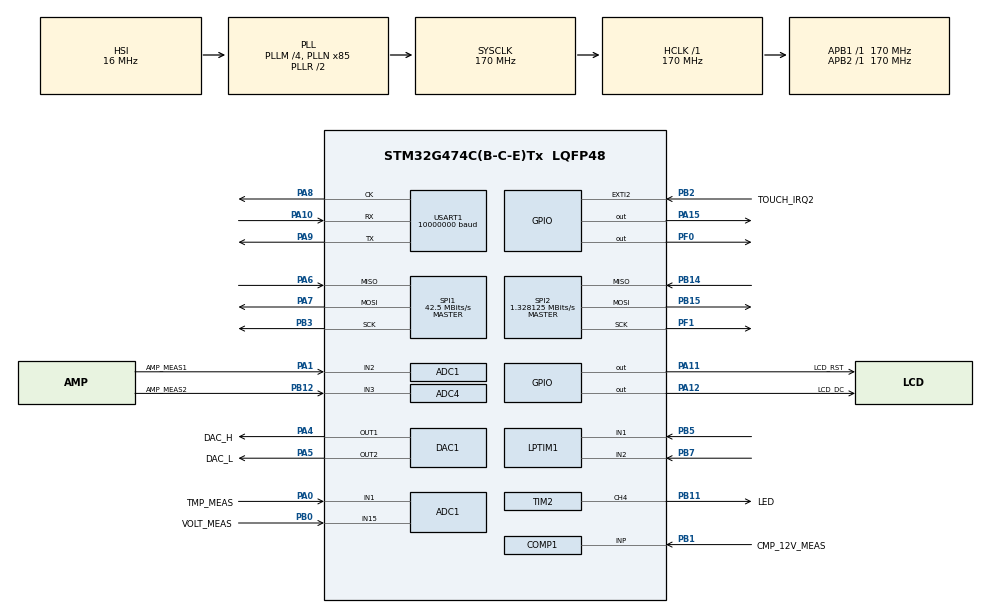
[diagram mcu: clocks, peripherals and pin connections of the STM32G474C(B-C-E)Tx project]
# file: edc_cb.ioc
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ADC1.Channel-0\#ChannelRegularConversion=ADC_CHANNEL_15
ADC1.Channel-1\#ChannelRegularConversion=ADC_CHANNEL_2
ADC1.Channel-2\#ChannelRegularConversion=ADC_CHANNEL_1
ADC1.ContinuousConvMode=ENABLE
ADC1.DMAContinuousRequests=ENABLE
ADC1.NbrOfConversion=3
ADC1.NbrOfConversionFlag=1
ADC1.OffsetNumber-0\#ChannelRegularConversion=ADC_OFFSET_NONE
ADC1.OffsetNumber-1\#ChannelRegularConversion=ADC_OFFSET_NONE
ADC1.OffsetNumber-2\#ChannelRegularConversion=ADC_OFFSET_NONE
ADC1.OversamplingMode=ENABLE
ADC1.Rank-0\#ChannelRegularConversion=1
ADC1.Rank-1\#ChannelRegularConversion=2
ADC1.Rank-2\#ChannelRegularConversion=3
ADC1.Ratio=ADC_OVERSAMPLING_RATIO_256
ADC1.RightBitShift=ADC_RIGHTBITSHIFT_4
ADC1.SamplingTime-0\#ChannelRegularConversion=ADC_SAMPLETIME_92CYCLES_5
ADC1.SamplingTime-1\#ChannelRegularConversion=ADC_SAMPLETIME_92CYCLES_5
ADC1.SamplingTime-2\#ChannelRegularConversion=ADC_SAMPLETIME_24CYCLES_5
ADC1.master=1
ADC4.Channel-0\#ChannelRegularConversion=ADC_CHANNEL_3
ADC4.NbrOfConversionFlag=1
ADC4.OffsetNumber-0\#ChannelRegularConversion=ADC_OFFSET_NONE
ADC4.OversamplingMode=DISABLE
ADC4.Rank-0\#ChannelRegularConversion=1
ADC4.SamplingTime-0\#ChannelRegularConversion=ADC_SAMPLETIME_2CYCLES_5
COMP1.Hysteresis=COMP_HYSTERESIS_10MV
COMP1.TriggerMode=COMP_TRIGGERMODE_EVENT_FALLING
DAC1.DAC_Channel-DAC_OUT2=DAC_CHANNEL_2
Dma.ADC1.0.Direction=DMA_PERIPH_TO_MEMORY
Dma.ADC1.0.EventEnable=DISABLE
Dma.ADC1.0.Instance=DMA1_Channel1
Dma.ADC1.0.MemDataAlignment=DMA_MDATAALIGN_HALFWORD
Dma.ADC1.0.MemInc=DMA_MINC_ENABLE
Dma.ADC1.0.Mode=DMA_CIRCULAR
Dma.ADC1.0.PeriphDataAlignment=DMA_PDATAALIGN_HALFWORD
Dma.ADC1.0.PeriphInc=DMA_PINC_DISABLE
Dma.ADC1.0.Polarity=HAL_DMAMUX_REQ_GEN_RISING
Dma.ADC1.0.Priority=DMA_PRIORITY_HIGH
Dma.ADC1.0.RequestNumber=1
Dma.ADC1.0.SignalID=NONE
Dma.ADC1.0.SyncEnable=DISABLE
Dma.ADC1.0.SyncPolarity=HAL_DMAMUX_SYNC_NO_EVENT
Dma.ADC1.0.SyncRequestNumber=1
Dma.ADC1.0.SyncSignalID=NONE
Dma.Request0=ADC1
Dma.Request1=SPI1_TX
Dma.SPI1_TX.1.Direction=DMA_MEMORY_TO_PERIPH
Dma.SPI1_TX.1.EventEnable=DISABLE
Dma.SPI1_TX.1.Instance=DMA1_Channel2
Dma.SPI1_TX.1.MemDataAlignment=DMA_MDATAALIGN_BYTE
Dma.SPI1_TX.1.MemInc=DMA_MINC_ENABLE
Dma.SPI1_TX.1.Mode=DMA_NORMAL
Dma.SPI1_TX.1.PeriphDataAlignment=DMA_PDATAALIGN_BYTE
Dma.SPI1_TX.1.PeriphInc=DMA_PINC_DISABLE
Dma.SPI1_TX.1.Polarity=HAL_DMAMUX_REQ_GEN_RISING
Dma.SPI1_TX.1.Priority=DMA_PRIORITY_LOW
Dma.SPI1_TX.1.RequestNumber=1
Dma.SPI1_TX.1.SignalID=NONE
Dma.SPI1_TX.1.SyncEnable=DISABLE
Dma.SPI1_TX.1.SyncPolarity=HAL_DMAMUX_SYNC_NO_EVENT
Dma.SPI1_TX.1.SyncRequestNumber=1
Dma.SPI1_TX.1.SyncSignalID=NONE
Mcu.Family=STM32G4
Mcu.Name=STM32G474C(B-C-E)Tx
Mcu.Package=LQFP48
NVIC.DMA1_Channel1_IRQn=true\:0\:0\:false\:false\:true\:false\:true\:true
NVIC.DMA1_Channel2_IRQn=true\:0\:0\:false\:false\:true\:false\:true\:true
NVIC.PriorityGroup=NVIC_PRIORITYGROUP_4
NVIC.TIM1_UP_TIM16_IRQn=true\:0\:0\:false\:false\:true\:true\:true\:true
NVIC.TIM6_DAC_IRQn=true\:0\:0\:false\:false\:true\:true\:true\:true
NVIC.TIM7_DAC_IRQn=true\:15\:0\:false\:false\:true\:false\:true\:true
NVIC.TimeBase=TIM7_DAC_IRQn
NVIC.TimeBaseIP=TIM7
PA0.GPIO_Label=TMP_MEAS
PA0.Signal=SharedAnalog_PA0
PA1.GPIO_Label=AMP_MEAS1
PA1.Mode=IN2-Single-Ended
PA1.Signal=ADC1_IN2
PA10.GPIO_Speed=GPIO_SPEED_FREQ_VERY_HIGH
PA10.Mode=Synchronous
PA10.Signal=USART1_RX
PA11.GPIO_Label=LCD_RST
PA11.GPIO_Speed=GPIO_SPEED_FREQ_VERY_HIGH
PA11.Signal=GPIO_Output
PA12.GPIO_Label=LCD_DC
PA12.GPIO_Speed=GPIO_SPEED_FREQ_VERY_HIGH
PA12.Signal=GPIO_Output
PA13.Mode=Serial_Wire
PA13.Signal=SYS_JTMS-SWDIO
PA14.Mode=Serial_Wire
PA14.Signal=SYS_JTCK-SWCLK
PA15.GPIO_ModeDefaultOutputPP=GPIO_MODE_OUTPUT_PP
PA15.GPIO_PuPd=GPIO_NOPULL
PA15.GPIO_Speed=GPIO_SPEED_FREQ_VERY_HIGH
PA15.PinState=GPIO_PIN_RESET
PA15.Signal=GPIO_Output
PA4.GPIO_Label=DAC_H
PA4.Signal=COMP_DAC11_group
PA5.GPIO_Label=DAC_L
PA5.Signal=COMP_DAC12_group
PA6.Mode=Full_Duplex_Master
PA6.Signal=SPI1_MISO
PA7.GPIO_Speed=GPIO_SPEED_FREQ_VERY_HIGH
PA7.Mode=Full_Duplex_Master
PA7.Signal=SPI1_MOSI
PA8.GPIO_Speed=GPIO_SPEED_FREQ_VERY_HIGH
PA8.Mode=Synchronous
PA8.Signal=USART1_CK
PA9.GPIO_Speed=GPIO_SPEED_FREQ_VERY_HIGH
PA9.Mode=Synchronous
PA9.Signal=USART1_TX
PB0.GPIO_Label=VOLT_MEAS
PB0.Mode=IN15-Single-Ended
PB0.Signal=ADC1_IN15
PB1.GPIO_Label=CMP_12V_MEAS
PB1.Mode=INP
PB1.Signal=COMP1_INP
PB11.GPIO_Label=LED
PB11.Signal=S_TIM2_CH4
PB12.GPIO_Label=AMP_MEAS2
PB12.Mode=IN3-Single-Ended
PB12.Signal=ADC4_IN3
PB14.Mode=Full_Duplex_Master
PB14.Signal=SPI2_MISO
PB15.Mode=Full_Duplex_Master
PB15.Signal=SPI2_MOSI
PB2.GPIO_Label=TOUCH_IRQ2
PB2.Signal=GPXTI2
PB3.GPIO_Speed=GPIO_SPEED_FREQ_VERY_HIGH
PB3.Mode=Full_Duplex_Master
PB3.Signal=SPI1_SCK
PB5.GPIO_PuPd=GPIO_PULLDOWN
PB5.Mode=Encoder_mode_occur1
PB5.Signal=LPTIM1_IN1
PB7.GPIO_PuPd=GPIO_PULLDOWN
PB7.Mode=Encoder_mode_occur1
PB7.Signal=LPTIM1_IN2
PF0-OSC_IN.Signal=GPIO_Output
PF1-OSC_OUT.Mode=Full_Duplex_Master
PF1-OSC_OUT.Signal=SPI2_SCK
ProjectManager.HeapSize=0x2F0
ProjectManager.StackSize=0x600
ProjectManager.TargetToolchain=MDK-ARM V5.32
RCC.ADC12Freq_Value=170000000
RCC.ADC345Freq_Value=170000000
RCC.AHBFreq_Value=170000000
RCC.APB1Freq_Value=170000000
RCC.APB1TimFreq_Value=170000000
RCC.APB2Freq_Value=170000000
RCC.APB2TimFreq_Value=170000000
RCC.CortexFreq_Value=170000000
RCC.EXTERNAL_CLOCK_VALUE=12288000
RCC.HCLKFreq_Value=170000000
RCC.HSE_VALUE=8000000
RCC.HSI48_VALUE=48000000
RCC.HSI_VALUE=16000000
RCC.LSE_VALUE=32768
RCC.PLLM=RCC_PLLM_DIV4
RCC.PLLN=85
RCC.SYSCLKFreq_VALUE=170000000
RCC.SYSCLKSource=RCC_SYSCLKSOURCE_PLLCLK
RCC.USBFreq_Value=170000000
RCC.VCOOutputFreq_Value=340000000
SH.COMP_DAC11_group.0=DAC1_OUT1,DAC_OUT1
SH.COMP_DAC12_group.0=DAC1_OUT2,DAC_OUT2
SH.S_TIM2_CH4.0=TIM2_CH4,PWM Generation4 CH4
SH.SharedAnalog_PA0.0=ADC2_IN1
SH.SharedAnalog_PA0.1=ADC1_IN1,IN1-Single-Ended
SPI1.BaudRatePrescaler=SPI_BAUDRATEPRESCALER_4
SPI1.CalculateBaudRate=42.5 MBits/s
SPI1.DataSize=SPI_DATASIZE_8BIT
SPI1.Direction=SPI_DIRECTION_2LINES
SPI1.Mode=SPI_MODE_MASTER
SPI1.NSSPMode=SPI_NSS_PULSE_DISABLE
SPI1.VirtualType=VM_MASTER
SPI2.BaudRatePrescaler=SPI_BAUDRATEPRESCALER_128
SPI2.CalculateBaudRate=1.328125 MBits/s
SPI2.DataSize=SPI_DATASIZE_8BIT
SPI2.Direction=SPI_DIRECTION_2LINES
SPI2.Mode=SPI_MODE_MASTER
SPI2.VirtualType=VM_MASTER
STMicroelectronics.X-CUBE-TOUCHGFX.4.26.1.ApplicationCcGraphicsJjApplication=TouchGFXOoGenerator
STMicroelectronics.X-CUBE-TOUCHGFX.4.26.1.tgfx_block_size=640
STMicroelectronics.X-CUBE-TOUCHGFX.4.26.1.tgfx_buffering_strategy=Partial
STMicroelectronics.X-CUBE-TOUCHGFX.4.26.1.tgfx_custom_height=240
STMicroelectronics.X-CUBE-TOUCHGFX.4.26.1.tgfx_custom_width=320
STMicroelectronics.X-CUBE-TOUCHGFX.4.26.1.tgfx_number_of_blocks=1
STMicroelectronics.X-CUBE-TOUCHGFX.4.26.1.tgfx_vector_rendering=Disabled
STMicroelectronics.X-CUBE-TOUCHGFX.4.26.1_IsPackSelfContextualization=true
TIM16.PeriodNoDither=99
TIM16.Prescaler=169
TIM2.Channel-PWM\ Generation4\ CH4=TIM_CHANNEL_4
TIM2.PeriodNoDither=65535
TIM2.PulseNoDither_4=32767
TIM6.PeriodNoDither=60000
TIM6.Prescaler=170-1
USART1.BaudRate=10000000
USART1.Parity=PARITY_NONE
USART1.VirtualMode-Synchronous=VM_SYNC
USART1.WordLength=WORDLENGTH_8B
VP_COMP1_VS_DAC3OUT1.Mode=INM_DAC3OUT1
VP_CRC_VS_CRC.Mode=CRC_Activate
VP_DAC3_VS_DACI1.Mode=DAC_OUT1_Int
VP_STMicroelectronics.X-CUBE-TOUCHGFX_VS_GraphicsJjApplication_4.26.1.Mode=GraphicsJjApplication
VP_SYS_VS_DBSignals.Mode=DisableDeadBatterySignals
VP_SYS_VS_tim7.Mode=TIM7
VP_TIM16_VS_ClockSourceINT.Mode=Enable_Timer
VP_TIM6_VS_ClockSourceINT.Mode=Enable_Timer
board=custom

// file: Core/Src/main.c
/* USER CODE BEGIN Header */
/**
  ******************************************************************************
  * @file           : main.c
  * @brief          : Main program body
  ******************************************************************************
  * @attention
  *
  * Copyright (c) 2026 STMicroelectronics.
  * All rights reserved.
  *
  * This software is licensed under terms that can be found in the LICENSE file
  * in the root directory of this software component.
  * If no LICENSE file comes with this software, it is provided AS-IS.
  *
  ******************************************************************************
  */
/* USER CODE END Header */
#include "main.h"
#include "adc.h"
#include "comp.h"
#include "crc.h"
#include "dac.h"
#include "dma.h"
#include "lptim.h"
#include "spi.h"
#include "tim.h"
#include "usart.h"
#include "gpio.h"
#include "app_touchgfx.h"

/* USER CODE BEGIN Includes */
#include "font_ASCII_32x32.h"
#include <stdlib.h>
#include <stdio.h>
#include <string.h>

/* USER CODE END Includes */

/* USER CODE BEGIN PTD */
uint16_t adc_volt[2];
float volt=0;
float volt2=0;

/* USER CODE END PTD */

void SystemClock_Config(void);
/* USER CODE BEGIN PFP */
#define AREF 3.0
/* USER CODE END PFP */

/* USER CODE BEGIN 0 */
/* ==================== 引脚宏定义 (用户按需修改) ==================== */
#define LCD_CS_PORT     GPIOA
#define LCD_CS_PIN      GPIO_PIN_15

#define LCD_RST_PORT    GPIOA
#define LCD_RST_PIN     GPIO_PIN_11

#define LCD_DC_PORT     GPIOA
#define LCD_DC_PIN      GPIO_PIN_12

/* 软件SPI引脚 (使用任意GPIO，这里用PA0=SCK, PA1=MOSI) */
#define LCD_SCK_PORT    GPIOB
#define LCD_SCK_PIN     GPIO_PIN_3

#define LCD_MOSI_PORT   GPIOA
#define LCD_MOSI_PIN    GPIO_PIN_6

/* ==================== 基本操作宏 ==================== */
#define CS_LOW()    HAL_GPIO_WritePin(LCD_CS_PORT, LCD_CS_PIN, GPIO_PIN_RESET)
#define CS_HIGH()   HAL_GPIO_WritePin(LCD_CS_PORT, LCD_CS_PIN, GPIO_PIN_SET)

#define RST_LOW()   HAL_GPIO_WritePin(LCD_RST_PORT, LCD_RST_PIN, GPIO_PIN_RESET)
#define RST_HIGH()  HAL_GPIO_WritePin(LCD_RST_PORT, LCD_RST_PIN, GPIO_PIN_SET)

#define DC_LOW()    HAL_GPIO_WritePin(LCD_DC_PORT, LCD_DC_PIN, GPIO_PIN_RESET)
#define DC_HIGH()   HAL_GPIO_WritePin(LCD_DC_PORT, LCD_DC_PIN, GPIO_PIN_SET)

#define SCK_LOW()   HAL_GPIO_WritePin(LCD_SCK_PORT, LCD_SCK_PIN, GPIO_PIN_RESET)
#define SCK_HIGH()  HAL_GPIO_WritePin(LCD_SCK_PORT, LCD_SCK_PIN, GPIO_PIN_SET)

#define MOSI_LOW()  HAL_GPIO_WritePin(LCD_MOSI_PORT, LCD_MOSI_PIN, GPIO_PIN_RESET)
#define MOSI_HIGH() HAL_GPIO_WritePin(LCD_MOSI_PORT, LCD_MOSI_PIN, GPIO_PIN_SET)

/* ==================== 软件SPI发送一个字节 ==================== */
//static void SPI_WriteByte(uint8_t data) {
//    for(int i = 7; i >= 0; i--) {
//        SCK_LOW();          // 时钟先拉低 (CPOL=0)
//        SPI_DELAY();
//
//        if(data & (1 << i))
//            MOSI_HIGH();
//        else
//            MOSI_LOW();
//
//        SPI_DELAY();
//        SCK_HIGH();         // 数据在上升沿采样 (CPHA=0)
//        SPI_DELAY();
//    }
//    SCK_LOW();  // 恢复
//}
static inline void SPI_WriteByte(uint8_t data) {
    // 使用HAL库的SPI发送函数
    // HAL_SPI_Transmit(SPI句柄, 数据缓冲区, 数据长度, 超时时间)
    HAL_SPI_Transmit_DMA(&hspi1, &data,1);
}
/* ==================== 命令/数据写入 ==================== */
static inline void WriteCmd(uint8_t cmd) {
    CS_LOW();
    DC_LOW();       // DC=0 表示命令
    SPI_WriteByte(cmd);
    CS_HIGH();
}

static inline void WriteData(uint8_t data) {
    CS_LOW();
    DC_HIGH();      // DC=1 表示数据
    SPI_WriteByte(data);
    CS_HIGH();
}

static inline void WriteData16(uint16_t data) {
    CS_LOW();
    DC_HIGH();
    SPI_WriteByte(data >> 8);   // 高字节
    SPI_WriteByte(data & 0xFF); // 低字节
    CS_HIGH();
}
static void SPI_WriteWord(uint16_t data) {
    CS_LOW();
    DC_HIGH();
    SPI_WriteByte(data >> 8);   // 高字节
    SPI_WriteByte(data & 0xFF); // 低字节
	//HAL_SPI_Transmit_DMA(&hspi1, &data,2);
    CS_HIGH();
}
#define LCD_WR_DATA WriteData
#define LCD_WR_REG WriteCmd
/* ==================== ILI9341初始化 ==================== */

void LCD_Init(void) {

    RST_HIGH(); HAL_Delay(10);
    RST_LOW();  HAL_Delay(10);
    RST_HIGH(); HAL_Delay(10);

   LCD_WR_REG(0xCF);
	LCD_WR_DATA(0x00);
	LCD_WR_DATA(0xC9); //C1
	LCD_WR_DATA(0X30);
	LCD_WR_REG(0xED);
	LCD_WR_DATA(0x64);
	LCD_WR_DATA(0x03);
	LCD_WR_DATA(0X12);
	LCD_WR_DATA(0X81);
	LCD_WR_REG(0xE8);
	LCD_WR_DATA(0x85);
	LCD_WR_DATA(0x10);
	LCD_WR_DATA(0x7A);
	LCD_WR_REG(0xCB);
	LCD_WR_DATA(0x39);
	LCD_WR_DATA(0x2C);
	LCD_WR_DATA(0x00);
	LCD_WR_DATA(0x34);
	LCD_WR_DATA(0x02);
	LCD_WR_REG(0xF7);
	LCD_WR_DATA(0x20);
	LCD_WR_REG(0xEA);
	LCD_WR_DATA(0x00);
	LCD_WR_DATA(0x00);
	LCD_WR_REG(0xC0);    //Power control
	LCD_WR_DATA(0x1B);   //VRH[5:0]
	LCD_WR_REG(0xC1);    //Power control
	LCD_WR_DATA(0x00);   //SAP[2:0];BT[3:0] 01
	LCD_WR_REG(0xC5);    //VCM control
	LCD_WR_DATA(0x30); 	 //3F
	LCD_WR_DATA(0x30); 	 //3C
	LCD_WR_REG(0xC7);    //VCM control2
	LCD_WR_DATA(0XB7);
	LCD_WR_REG(0x36);    // Memory Access Control
	LCD_WR_DATA(0x08);
	LCD_WR_REG(0x3A);
	LCD_WR_DATA(0x55);
	LCD_WR_REG(0xB1);
	LCD_WR_DATA(0x00);
	LCD_WR_DATA(0x1A);
	LCD_WR_REG(0xB6);    // Display Function Control
	LCD_WR_DATA(0x0A);
	LCD_WR_DATA(0xA2);
	LCD_WR_REG(0xF2);    // 3Gamma Function Disable
	LCD_WR_DATA(0x00);
	LCD_WR_REG(0x26);    //Gamma curve selected
	LCD_WR_DATA(0x01);
	LCD_WR_REG(0xE0);    //Set Gamma
	LCD_WR_DATA(0x0F);
	LCD_WR_DATA(0x2A);
	LCD_WR_DATA(0x28);
	LCD_WR_DATA(0x08);
	LCD_WR_DATA(0x0E);
	LCD_WR_DATA(0x08);
	LCD_WR_DATA(0x54);
	LCD_WR_DATA(0XA9);
	LCD_WR_DATA(0x43);
	LCD_WR_DATA(0x0A);
	LCD_WR_DATA(0x0F);
	LCD_WR_DATA(0x00);
	LCD_WR_DATA(0x00);
	LCD_WR_DATA(0x00);
	LCD_WR_DATA(0x00);
	LCD_WR_REG(0XE1);    //Set Gamma
	LCD_WR_DATA(0x00);
	LCD_WR_DATA(0x15);
	LCD_WR_DATA(0x17);
	LCD_WR_DATA(0x07);
	LCD_WR_DATA(0x11);
	LCD_WR_DATA(0x06);
	LCD_WR_DATA(0x2B);
	LCD_WR_DATA(0x56);
	LCD_WR_DATA(0x3C);
	LCD_WR_DATA(0x05);
	LCD_WR_DATA(0x10);
	LCD_WR_DATA(0x0F);
	LCD_WR_DATA(0x3F);
	LCD_WR_DATA(0x3F);
	LCD_WR_DATA(0x0F);
	LCD_WR_REG(0x2B);
	LCD_WR_DATA(0x00);
	LCD_WR_DATA(0x00);
	LCD_WR_DATA(0x01);
	LCD_WR_DATA(0x3f);
	LCD_WR_REG(0x2A);
	LCD_WR_DATA(0x00);
	LCD_WR_DATA(0x00);
	LCD_WR_DATA(0x00);
	LCD_WR_DATA(0xef);
	LCD_WR_REG(0x11); //Exit Sleep
	HAL_Delay(120);
	LCD_WR_REG(0x29); //display on

}

/* ==================== 颜色宏 ==================== */
#define RGB565(r,g,b) 65535-(((r>>3)<<11) | ((g>>2)<<5) | (b>>3))

/* ==================== 画图函数 ==================== */
void SPI1_Boost(){
	 hspi1.Instance = SPI1;
  hspi1.Init.Mode = SPI_MODE_MASTER;
  hspi1.Init.Direction = SPI_DIRECTION_2LINES;
  hspi1.Init.DataSize = SPI_DATASIZE_8BIT;
  hspi1.Init.CLKPolarity = SPI_POLARITY_LOW;
  hspi1.Init.CLKPhase = SPI_PHASE_1EDGE;
  hspi1.Init.NSS = SPI_NSS_SOFT;
  hspi1.Init.BaudRatePrescaler = SPI_BAUDRATEPRESCALER_2;
  hspi1.Init.FirstBit = SPI_FIRSTBIT_MSB;
  hspi1.Init.TIMode = SPI_TIMODE_DISABLE;
  hspi1.Init.CRCCalculation = SPI_CRCCALCULATION_DISABLE;
  hspi1.Init.CRCPolynomial = 7;
  hspi1.Init.CRCLength = SPI_CRC_LENGTH_DATASIZE;
  hspi1.Init.NSSPMode = SPI_NSS_PULSE_DISABLE;
  if (HAL_SPI_Init(&hspi1) != HAL_OK)
  {
    Error_Handler();
  }
}
void LCD_FillScreen(uint16_t color) {
	uint16_t x=0,y=0;
   WriteCmd(0x2A);
    WriteData(x >> 8); WriteData(x & 0xFF);
    WriteData((x+239) >> 8); WriteData((x+239) & 0xFF);

    WriteCmd(0x2B);
    WriteData(y >> 8); WriteData(y & 0xFF);
    WriteData((y+319) >> 8); WriteData((y+319) & 0xFF);

    WriteCmd(0x2C);  // 写显存命令

    CS_LOW();
    DC_HIGH();

    for(uint32_t i = 0; i < 240*320; i++) {
      CS_LOW();
    DC_HIGH();
	HAL_SPI_Transmit_DMA(&hspi1, &color,2);
    CS_HIGH();
    }

    CS_HIGH();
}

// MicroLIB 缺失的符号
void __aeabi_assert(const char *expr, const char *file, int line)
{
    (void)expr;
    (void)file;
    (void)line;
	return;
    //while(1);  // 或者直接返回
}

int _atexit_init(void)
{
    return 0;
}

int _atexit_mutex(void)
{
    return 0;
}

// 快速填充 (用缓冲区减少循环次数)
void LCD_FillScreen_Fast(uint16_t color) {
    uint8_t buf[64*2];  // 一次发64个像素

    // 填充缓冲区
    for(int i = 0; i < 64*2; i+=2) {
        buf[i]   = color >> 8;
        buf[i+1] = color & 0xFF;
    }

    uint32_t total = 240 * 320 / 64; // 分多少次发送

    WriteCmd(0x2C);
    CS_LOW();
    DC_HIGH();

    for(uint32_t j = 0; j < total; j++) {
        for(int i = 0; i < 64*2; i++) {
            SPI_WriteByte(buf[i]);
        }
    }

    CS_HIGH();
}

/* ==================== 测试函数 ==================== */
void LCD_Test(void) {
    // 测试1: 红色
    LCD_FillScreen_Fast(RGB565(255, 0, 0));
//HAL_Delay(1000);

    // 测试2: 绿色
    LCD_FillScreen_Fast(RGB565(0, 255, 0));
 //   HAL_Delay(1000);

    // 测试3: 蓝色
    LCD_FillScreen_Fast(RGB565(0, 0, 255));
   // HAL_Delay(1000);

    // 测试4: 白色
    LCD_FillScreen_Fast(RGB565(255, 255, 255));
  //  HAL_Delay(1000);

    // 测试5: 黑色
    LCD_FillScreen_Fast(RGB565(0, 0, 0));
  //  HAL_Delay(1000);
}

/* ==================== 分段测试 (用于诊断) ==================== */
void LCD_Diagnostic(void) {
    // 1. 仅复位，看屏幕是否有变化
    RST_HIGH();
    HAL_Delay(200);
    // 此时如果屏幕亮，应该是白屏或花屏

    // 2. 仅发送开启显示命令
    WriteCmd(0x29);
    HAL_Delay(100);

    // 3. 写一个像素点
    WriteCmd(0x2A);
    WriteData(0x00); WriteData(0x00);  // X=0
    WriteData(0x00); WriteData(0x00);  // X=0

    WriteCmd(0x2B);
    WriteData(0x00); WriteData(0x00);  // Y=0
    WriteData(0x00); WriteData(0x00);  // Y=0

    WriteCmd(0x2C);
    CS_LOW();
    DC_HIGH();
    SPI_WriteByte(0xFF);  // 一个红色像素的高字节
    SPI_WriteByte(0x00);  // 低字节
    CS_HIGH();
}
void LCD_SetSpinAngle(uint16_t spinAngle) {
    uint8_t madctl;

    // 取模360并映射到最近的标准方向
    // 标准方向: 0, 90, 180, 270
    uint16_t angle = spinAngle % 360;

    // 四舍五入到最近的90度
    // 0-44 -> 0, 45-134 -> 90, 135-224 -> 180, 225-314 -> 270, 315-359 -> 0
    uint16_t dir;
    if(angle < 45 || angle >= 315) {
        dir = 0;
    } else if(angle < 135) {
        dir = 90;
    } else if(angle < 225) {
        dir = 180;
    } else {
        dir = 270;
    }

    // 根据方向设置MADCTL寄存器的值
    switch(dir) {
        case 0:     // 0度 (竖屏, 默认)
            madctl = 0x48;  // MY=0, MX=1, MV=0, ML=0, BGR=1
            break;

        case 90:    // 90度 (横屏)
            madctl = 0x28;  // MY=0, MX=1, MV=1, ML=0, BGR=1
            break;

        case 180:   // 180度 (倒屏)
            madctl = 0x88;  // MY=1, MX=1, MV=0, ML=0, BGR=1
            break;

        case 270:   // 270度 (反向横屏)
            madctl = 0xE8;  // MY=1, MX=0, MV=1, ML=0, BGR=1
            break;

        default:    // 默认竖屏
            madctl = 0x48;
            break;
    }

    // 发送MADCTL命令
    WriteCmd(0x36);
    WriteData(madctl);

    // 重新设置全屏窗口
    WriteCmd(0x2A);  // 列地址
    WriteData(0x00); WriteData(0x00);
    WriteData(0x00); WriteData(0xEF);  // 239

    WriteCmd(0x2B);  // 行地址
    WriteData(0x00); WriteData(0x00);
    WriteData(0x01); WriteData(0x3F);  // 319

    // 清屏
    LCD_FillScreen(0x0000);  // 黑色清屏
}

/* ==================== DrawPoint 函数 ==================== */
void DrawPoint(uint16_t x, uint16_t y, uint16_t color) {
    if(x >= 240 || y >= 320) return;

    WriteCmd(0x2A);
    WriteData(x >> 8); WriteData(x & 0xFF);
    WriteData(x >> 8); WriteData(x & 0xFF);

    WriteCmd(0x2B);
    WriteData(y >> 8); WriteData(y & 0xFF);
    WriteData(y >> 8); WriteData(y & 0xFF);

    WriteCmd(0x2C);
    CS_LOW();
    DC_HIGH();
    SPI_WriteWord(color);
    CS_HIGH();
}

/* ==================== WriteChar3232 函数 ==================== */
void WriteChar3232(uint16_t x, uint16_t y, const uint8_t *font_data, uint16_t color, uint16_t bg_color) {
    if(x + 32 > 240 || y + 32 > 320) return;

    WriteCmd(0x2A);
    WriteData(x >> 8); WriteData(x & 0xFF);
    WriteData((x+31) >> 8); WriteData((x+31) & 0xFF);

    WriteCmd(0x2B);
    WriteData(y >> 8); WriteData(y & 0xFF);
    WriteData((y+31) >> 8); WriteData((y+31) & 0xFF);

    WriteCmd(0x2C);
    CS_LOW();
    DC_HIGH();

    for(int col = 0; col < 32; col++) {
        for(int row = 0; row < 32; row++) {
            if(font_data[row * 4 + col / 8] & (0x80 >> (col % 8))) {
                SPI_WriteWord(color);
            } else {
                SPI_WriteWord(bg_color);
            }
        }
    }

    CS_HIGH();
}

void WriteASCII3232(uint16_t x,uint16_t y,uint16_t color, uint16_t bg_color,char which){
	uint8_t ascii_dat=which;
	ascii_dat-=32;
	WriteChar3232(y,x,Font_ASCII[ascii_dat].dat,color,bg_color);
}

/* ==================== WriteString3232 函数 ==================== */
void WriteString3232(uint16_t x, uint16_t y, uint16_t color, uint16_t bg_color, const char *str) {
    uint16_t start_x = x;

    while(*str) {
        if(*str == '\n') {
            // 换行
            y += 32;  // 32像素高度 + 3像素间距
            x = start_x;
        } else if(*str == ' ') {
            // 空格
            x += 28;  // 32像素宽度 + 3像素间距
        } else {
            // 显示字符
            WriteASCII3232(x, y, color, bg_color, *str);
            x += 28;  // 32像素宽度 + 3像素间距
        }

        // 超出屏幕宽度自动换行
        if(x + 30 > 320) {
            y += 32;
            x = start_x;
        }

        str++;
    }
}

float measure12V(){
	int resraw=0;
	HAL_DAC_SetValue(&hdac3,DAC_CHANNEL_1,DAC_ALIGN_12B_R,0);
	for(uint16_t i=0;i<4096;i++){
		HAL_DAC_SetValue(&hdac3,DAC_CHANNEL_1,DAC_ALIGN_12B_R,i);
		if(HAL_COMP_GetOutputLevel(&hcomp1)==COMP_OUTPUT_LEVEL_LOW){
			resraw=i;
			break;
		}
	}
	return ((resraw/4096.0f)*11.0f*AREF);
}
float av12_voltage=0;
extern uint16_t adc1[49];
struct adc1_read{
	float temp;
	float amp;
	float volt;
}adc1_readings;
void adc1_convert(struct adc1_read* read1){
	read1->temp=adc1[2];
	read1->amp=adc1[1];
	read1->volt=((adc1[0]-32767.0f)/65536.0f)*3.0f*16.0f*-1.7605f;
}
char temp_buf[10];
int system_startup_check(){

	WriteString3232(0,20,RGB565(255,255,255),RGB565(0,0,0),"LOADING ");
	int pass=0;
	if(measure12V()>10&&measure12V()<15)pass++;
	adc1_convert(&adc1_readings);
	if(adc1_readings.volt<30&&adc1_readings.volt>-1)pass+=2;
	if(pass>=3){
   LCD_FillScreen(RGB565(0,0,0));
   WriteString3232(0,60,RGB565(0,255,0),RGB565(0,0,0),"System OK\n");
		HAL_Delay(10);
		return 1;
	}else if(pass==1){
    LCD_FillScreen(RGB565(255,0,0));
		WriteString3232(0,60,RGB565(255,0,255),RGB565(0,0,0),"Check Input\n");
		HAL_Delay(10);
		char buf[16];
		snprintf(buf,12,"INP=%.2fV",adc1_readings.volt);
		WriteString3232(0,100,RGB565(0,255,255),RGB565(0,0,0),buf);
		HAL_Delay(10);
		return 0;
	}else if(pass==2){
  //  LCD_FillScreen(RGB565(0,0,0));
		int v12_now=(int)(measure12V());
		snprintf(temp_buf,10,"VSYS=%dV\n",v12_now);
		WriteString3232(0,60,RGB565(255,255,0),RGB565(0,0,0),"12V Fault\nCheck PSU\n");
		WriteString3232(0,180,RGB565(255,255,0),RGB565(0,0,0),temp_buf);
		HAL_Delay(10);

		return 0;

	}else if(pass==0){
   // LCD_FillScreen(RGB565(0,0,0));
		WriteString3232(0,60,RGB565(255,0,0),RGB565(0,0,0),"Multiple Errors\n");
		HAL_Delay(10);
		return 0;
	}
	return 0;
}

#define CURRENT_OFFSET 0.56

uint8_t Touch_Read(SPI_HandleTypeDef *hspi, GPIO_TypeDef *cs_port, uint16_t cs_pin, uint16_t *x, uint16_t *y) {
    uint8_t rx_buf[3];  // 接收缓冲区
    uint32_t x_sum = 0, y_sum = 0;
    uint8_t valid = 0;

    for (uint8_t i = 0; i < 5; i++) {  // 采样5次
        // ====== 读取X坐标 ======
        HAL_GPIO_WritePin(cs_port, cs_pin, GPIO_PIN_RESET);  // CS拉低

        // 发送命令 0xD0，同时接收第1个字节
        uint8_t cmd = 0xD0;
        HAL_SPI_TransmitReceive(hspi, &cmd, &rx_buf[0], 1, HAL_MAX_DELAY);

        // 发送假数据，同时接收第2个字节
        cmd = 0x00;
        HAL_SPI_TransmitReceive(hspi, &cmd, &rx_buf[1], 1, HAL_MAX_DELAY);

        HAL_GPIO_WritePin(cs_port, cs_pin, GPIO_PIN_SET);    // CS拉高

        // 解析X坐标 (12位: rx_buf[0]高4位 + rx_buf[1]全部)
        uint16_t x_val = ((uint16_t)rx_buf[1]<<8 ) | (rx_buf[0]);

        // ====== 读取Y坐标 ======
        HAL_GPIO_WritePin(cs_port, cs_pin, GPIO_PIN_RESET);  // CS拉低

        cmd = 0x90;
        HAL_SPI_TransmitReceive(hspi, &cmd, &rx_buf[0], 1, HAL_MAX_DELAY);

        cmd = 0x00;
        HAL_SPI_TransmitReceive(hspi, &cmd, &rx_buf[1], 1, HAL_MAX_DELAY);

        HAL_GPIO_WritePin(cs_port, cs_pin, GPIO_PIN_SET);    // CS拉高

        // 解析Y坐标
        uint16_t y_val = ((uint16_t)rx_buf[1]<<8 ) | (rx_buf[0] );

        // 判断是否有效（阈值100，可根据实际情况调整）
        if (x_val > 100 && y_val > 100) {
            x_sum += x_val;
            y_sum += y_val;
            valid++;
        }
    }

    // 至少3次有效采样才返回坐标
    if (valid >= 3) {
        *x = x_sum / valid;
        *y = y_sum / valid;
        return 1;  // 触摸有效
    }

    *x = 0;
    *y = 0;
    return 0;  // 未触摸
}

void TouchScreen_Calibrate(){
	LCD_FillScreen(RGB565(255,255,255));
	WriteASCII3232(0,0,RGB565(0,255,0),RGB565(0,0,0),'+');
	WriteASCII3232(320-32,0,RGB565(0,255,0),RGB565(0,0,0),'+');
	WriteASCII3232(0,240-32,RGB565(0,255,0),RGB565(0,0,0),'+');
	WriteASCII3232(320-32,240-32,RGB565(0,255,0),RGB565(0,0,0),'+');
	uint8_t flag=0;
	while(1){
		uint16_t ii,jj,rdX,rdY;
				if(Touch_Read(&hspi2,GPIOF,GPIO_PIN_0,&ii,&jj)){
					rdX=ii;
					rdY=jj;
				}
				uint32_t tmpx=(uint32_t)rdY*320*2;
				uint32_t tmpy=(uint32_t)rdX*240*2;
				tmpx/=65536;
				tmpy/=65536;
			  rdX=tmpx;
				rdY=tmpy;
				if(rdX<50&&rdY<30){
					WriteASCII3232(0,0,RGB565(255,0,255),RGB565(0,0,0),'+');
					flag|=1;
				}
					if(rdX>320-50&&rdY<30){
					WriteASCII3232(320-32,0,RGB565(255,0,255),RGB565(0,0,0),'+');
						flag|=2;
				}
					if(rdX<50&&rdY>240-30){
					WriteASCII3232(0,240-32,RGB565(255,0,255),RGB565(0,0,0),'+');
						flag|=4;
				}
					if(rdX>320-50&&rdY>240-30){
					WriteASCII3232(320-32,240-32,RGB565(255,0,255),RGB565(0,0,0),'+');
						flag|=8;
				}
					if(flag==15)break;
			}
		}
float ii=0;
int steps=32;
int32_t dacval=0;
float target_current,current_prop=5;

float testcurrent=0.0f;
int readX=0,readY=0;
int32_t sinetables[20]={116708, 152775, 185294, 211128, 227697, 233414, 227697, 211128, 185294, 152775,116708, 80641, 48122, 22288, 5719, 0, 5719, 22288, 48122, 80641};
extern uint8_t flag_start;
/* USER CODE END 0 */

int main(void)
{

  /* MCU Configuration--------------------------------------------------------*/

  /* Reset of all peripherals, Initializes the Flash interface and the Systick. */
  HAL_Init();

  /* Configure the system clock */
  SystemClock_Config();

  /* Initialize all configured peripherals */
  MX_GPIO_Init();
  MX_DMA_Init();
  MX_ADC1_Init();
  MX_ADC4_Init();
  MX_COMP1_Init();
  MX_DAC1_Init();
  MX_DAC3_Init();
  MX_LPTIM1_Init();
  MX_TIM2_Init();
  MX_USART1_Init();
  MX_SPI1_Init();
  MX_CRC_Init();
  MX_TIM6_Init();
  MX_SPI2_Init();
  MX_TIM16_Init();
  MX_TouchGFX_Init();
  /* USER CODE BEGIN 2 */
	HAL_LPTIM_Encoder_Start(&hlptim1,65535);
		HAL_DAC_SetValue(&hdac1,DAC_CHANNEL_1,DAC_ALIGN_12B_R,0);
	HAL_DAC_Start(&hdac1,DAC_CHANNEL_1);
	HAL_DAC_SetValue(&hdac1,DAC_CHANNEL_1,DAC_ALIGN_12B_R,0);
		HAL_DAC_SetValue(&hdac1,DAC_CHANNEL_2,DAC_ALIGN_12B_R,0);
			HAL_DAC_Start(&hdac1,DAC_CHANNEL_2);
				HAL_DAC_SetValue(&hdac1,DAC_CHANNEL_2,DAC_ALIGN_12B_R,0);
	HAL_ADCEx_Calibration_Start(&hadc1,ADC_SINGLE_ENDED);
	HAL_ADC_Start_DMA(&hadc1,(uint32_t*)(adc1),48);
HAL_TIM_PWM_Start(&htim2,TIM_CHANNEL_4);
htim2.Instance->CCR4=0;
HAL_COMP_Start(&hcomp1);
HAL_DAC_Start(&hdac3,DAC_CHANNEL_1);
    LCD_Init();
LCD_SetSpinAngle(90);
SPI1_Boost();
LCD_FillScreen(RGB565(0,0,0));
htim2.Instance->CCR4=htim2.Instance->ARR-1;
LCD_FillScreen(RGB565(0,0,0));

while(!system_startup_check()){
}
LCD_FillScreen(RGB565(255,0,0));
HAL_Delay(50);
//TouchScreen_Calibrate();
//MX_TouchGFX_Process();
LCD_SetSpinAngle(270);
WriteCmd(0x36);
WriteData(0x40);
WriteCmd(0x21);

flag_start=1;
  // LCD_Test();  // 依次显示红绿蓝白黑
  /* USER CODE END 2 */

  /* Infinite loop */
  while (1)
  {

  MX_TouchGFX_Process();
    /* USER CODE BEGIN 3 */
	/*	volt=(float)adc_volt[0]-32845.0f;
		volt/=65536;
		volt*=3*16;
		volt2=volt;
//av12_voltage=measure12V();
char buf[16];
		//snprintf(buf,12,"12V=%.2fV",av12_voltage);
		//WriteString3232(0,80,RGB565(0,255,0),RGB565(0,0,0),buf);
	//	adc1_convert(&adc1_readings);
		//snprintf(buf,12,"%.3fPI",ii);
	//WriteString3232(0,130,RGB565(255,255,255),RGB565(0,0,0),buf);
		//WriteCurrentDAC((233415/2)+((233415/10)*sinf(ii)));
		ii+=(3.14/steps);
		if(ii>6.28)ii=0;
		//WriteCurrentDAC(dacval);

	uint16_t ii,jj;
				if(Touch_Read(&hspi2,GPIOF,GPIO_PIN_0,&ii,&jj)){
					readX=ii;
					readY=jj;
				}
				uint32_t tmpx=(uint32_t)readY*320*2;
				uint32_t tmpy=(uint32_t)readX*240*2;
				tmpx/=65536;
				tmpy/=65536;
			  readX=tmpx;
				readY=tmpy;
				sprintf(buf,"X:%05d\n",readX);
		WriteString3232(0,140,RGB565(0,255,0),RGB565(0,0,0),buf);
				sprintf(buf,"Y:%05d\n",readY);
		WriteString3232(0,180,RGB565(0,255,0),RGB565(0,0,0),buf);

	//	ILI9341_FillScreen(0x00ff);*/
  }
  /* USER CODE END 3 */
}

void SystemClock_Config(void)
{
  RCC_OscInitTypeDef RCC_OscInitStruct = {0};
  RCC_ClkInitTypeDef RCC_ClkInitStruct = {0};

  /** Configure the main internal regulator output voltage
  */
  HAL_PWREx_ControlVoltageScaling(PWR_REGULATOR_VOLTAGE_SCALE1_BOOST);

  /** Initializes the RCC Oscillators according to the specified parameters
  * in the RCC_OscInitTypeDef structure.
  */
  RCC_OscInitStruct.OscillatorType = RCC_OSCILLATORTYPE_HSI;
  RCC_OscInitStruct.HSIState = RCC_HSI_ON;
  RCC_OscInitStruct.HSICalibrationValue = RCC_HSICALIBRATION_DEFAULT;
  RCC_OscInitStruct.PLL.PLLState = RCC_PLL_ON;
  RCC_OscInitStruct.PLL.PLLSource = RCC_PLLSOURCE_HSI;
  RCC_OscInitStruct.PLL.PLLM = RCC_PLLM_DIV4;
  RCC_OscInitStruct.PLL.PLLN = 85;
  RCC_OscInitStruct.PLL.PLLP = RCC_PLLP_DIV2;
  RCC_OscInitStruct.PLL.PLLQ = RCC_PLLQ_DIV2;
  RCC_OscInitStruct.PLL.PLLR = RCC_PLLR_DIV2;
  if (HAL_RCC_OscConfig(&RCC_OscInitStruct) != HAL_OK)
  {
    Error_Handler();
  }

  /** Initializes the CPU, AHB and APB buses clocks
  */
  RCC_ClkInitStruct.ClockType = RCC_CLOCKTYPE_HCLK|RCC_CLOCKTYPE_SYSCLK
                              |RCC_CLOCKTYPE_PCLK1|RCC_CLOCKTYPE_PCLK2;
  RCC_ClkInitStruct.SYSCLKSource = RCC_SYSCLKSOURCE_PLLCLK;
  RCC_ClkInitStruct.AHBCLKDivider = RCC_SYSCLK_DIV1;
  RCC_ClkInitStruct.APB1CLKDivider = RCC_HCLK_DIV1;
  RCC_ClkInitStruct.APB2CLKDivider = RCC_HCLK_DIV1;

  if (HAL_RCC_ClockConfig(&RCC_ClkInitStruct, FLASH_LATENCY_4) != HAL_OK)
  {
    Error_Handler();
  }
}

void Error_Handler(void)
{
  __disable_irq();
  while (1)
  {
  }
}
